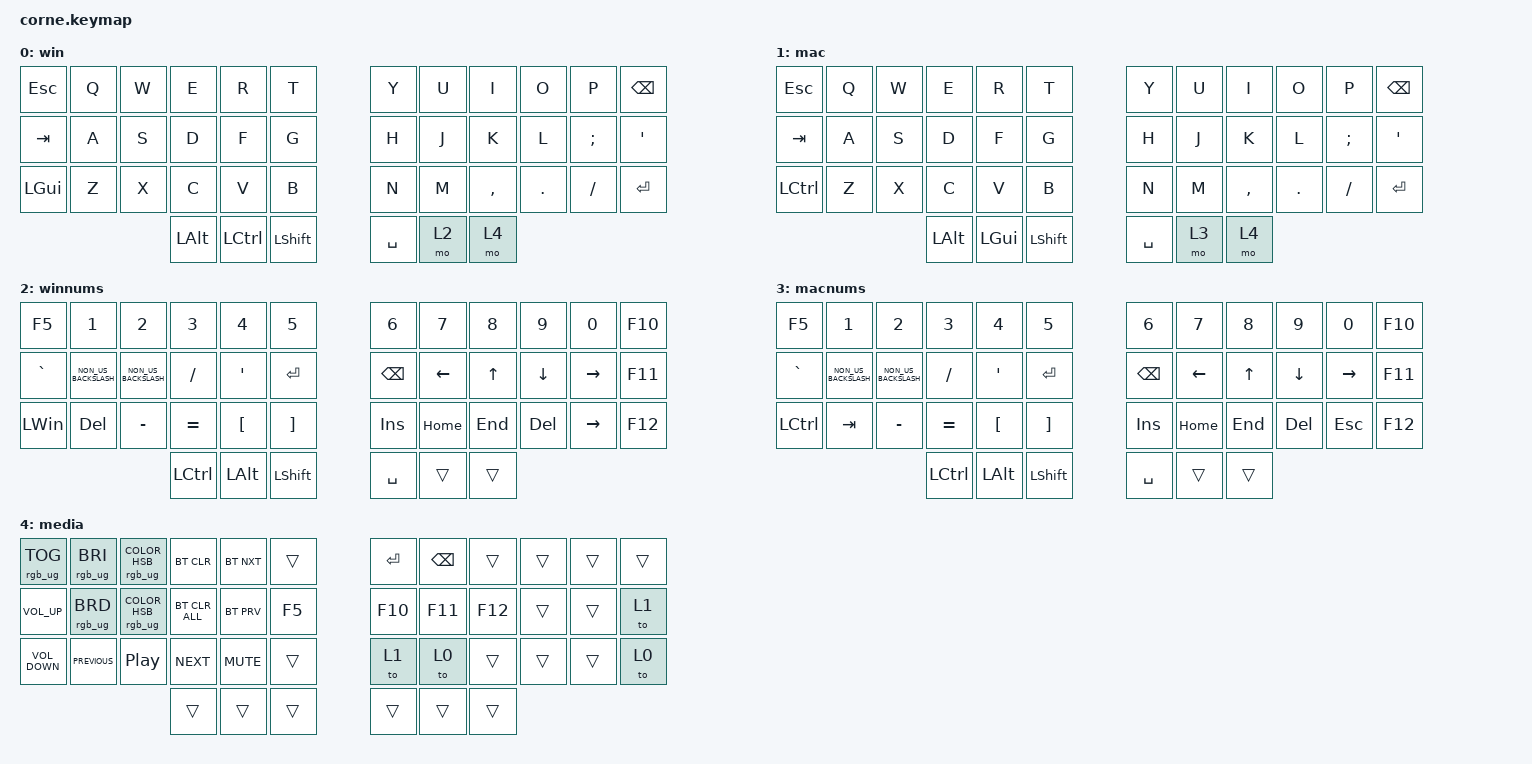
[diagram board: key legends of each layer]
/*
 * Copyright (c) 2020 The ZMK Contributors
 *
 * SPDX-License-Identifier: MIT
 */

#include <behaviors.dtsi>
#include <dt-bindings/zmk/bt.h>
#include <dt-bindings/zmk/keys.h>
#include <dt-bindings/zmk/rgb.h>

/ {
    keymap {
        compatible = "zmk,keymap";

        win {
            bindings = <
&kp ESC   &kp Q  &kp W  &kp E     &kp R      &kp T        &kp Y      &kp U  &kp I      &kp O    &kp P     &kp BSPC
&kp TAB   &kp A  &kp S  &kp D     &kp F      &kp G        &kp H      &kp J  &kp K      &kp L    &kp SEMI  &kp APOS
&kp LGUI  &kp Z  &kp X  &kp C     &kp V      &kp B        &kp N      &kp M  &kp COMMA  &kp DOT  &kp FSLH  &kp ENTER
                        &kp LALT  &kp LCTRL  &kp LSHFT    &kp SPACE  &mo 2  &mo 4
            >;
        };

        mac {
            bindings = <
&kp ESC    &kp Q  &kp W  &kp E     &kp R     &kp T        &kp Y      &kp U  &kp I      &kp O    &kp P     &kp BSPC
&kp TAB    &kp A  &kp S  &kp D     &kp F     &kp G        &kp H      &kp J  &kp K      &kp L    &kp SEMI  &kp APOS
&kp LCTRL  &kp Z  &kp X  &kp C     &kp V     &kp B        &kp N      &kp M  &kp COMMA  &kp DOT  &kp FSLH  &kp ENTER
                         &kp LALT  &kp LGUI  &kp LSHFT    &kp SPACE  &mo 3  &mo 4
            >;
        };

        winnums {
            bindings = <
&kp F5        &kp NUMBER_1          &kp NUMBER_2          &kp NUMBER_3  &kp NUMBER_4    &kp NUMBER_5    &kp NUMBER_6   &kp NUMBER_7    &kp NUMBER_8  &kp NUMBER_9    &kp N0           &kp F10
&kp GRAVE     &kp NON_US_BACKSLASH  &kp NON_US_BACKSLASH  &kp SLASH     &kp APOSTROPHE  &kp ENTER       &kp BACKSPACE  &kp LEFT_ARROW  &kp UP_ARROW  &kp DOWN_ARROW  &kp RIGHT_ARROW  &kp F11
&kp LEFT_WIN  &kp DELETE            &kp MINUS             &kp EQUAL     &kp LBKT        &kp RBKT        &kp INSERT     &kp HOME        &kp END       &kp DELETE      &kp RIGHT        &kp F12
                                                          &kp LCTRL     &kp LALT        &kp LSHFT       &kp SPACE      &trans          &trans
            >;
        };

        macnums {
            bindings = <
&kp F5     &kp NUMBER_1          &kp NUMBER_2          &kp NUMBER_3  &kp NUMBER_4    &kp NUMBER_5    &kp NUMBER_6   &kp NUMBER_7    &kp NUMBER_8  &kp NUMBER_9    &kp N0           &kp F10
&kp GRAVE  &kp NON_US_BACKSLASH  &kp NON_US_BACKSLASH  &kp SLASH     &kp APOSTROPHE  &kp ENTER       &kp BACKSPACE  &kp LEFT_ARROW  &kp UP_ARROW  &kp DOWN_ARROW  &kp RIGHT_ARROW  &kp F11
&kp LCTRL  &kp TAB               &kp MINUS             &kp EQUAL     &kp LBKT        &kp RBKT        &kp INSERT     &kp HOME        &kp END       &kp DELETE      &kp ESCAPE       &kp F12
                                                       &kp LCTRL     &kp LALT        &kp LSHFT       &kp SPACE      &trans          &trans
            >;
        };

        media {
            bindings = <
&rgb_ug RGB_TOG    &rgb_ug RGB_BRI  &rgb_ug RGB_COLOR_HSB(279,100,50)  &bt BT_CLR      &bt BT_NXT  &trans    &kp ENTER  &kp BACKSPACE  &trans   &trans  &trans  &trans
&kp C_VOLUME_UP    &rgb_ug RGB_BRD  &rgb_ug RGB_COLOR_HSB(119,100,50)  &bt BT_CLR_ALL  &bt BT_PRV  &kp F5    &kp F10    &kp F11        &kp F12  &trans  &trans  &to 1
&kp C_VOLUME_DOWN  &kp C_PREVIOUS   &kp C_PLAY_PAUSE                   &kp C_NEXT      &kp C_MUTE  &trans    &to 1      &to 0          &trans   &trans  &trans  &to 0
                                                                       &trans          &trans      &trans    &trans     &trans         &trans
            >;
        };
    };
};
